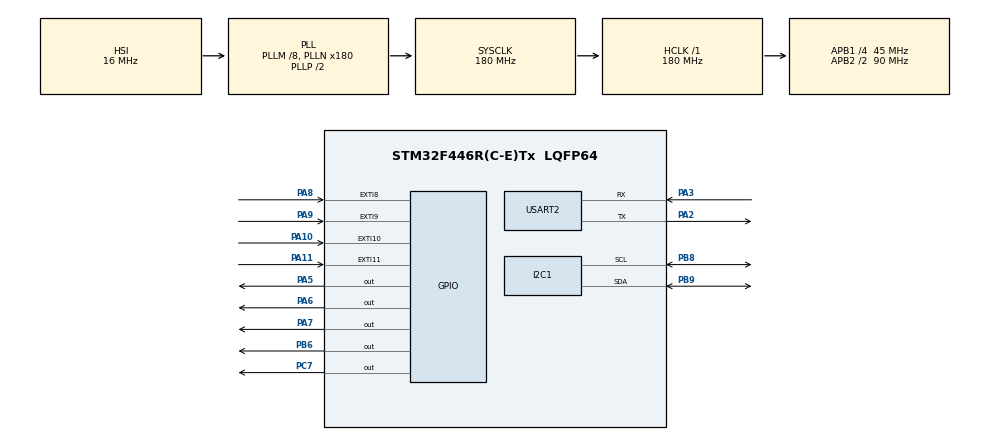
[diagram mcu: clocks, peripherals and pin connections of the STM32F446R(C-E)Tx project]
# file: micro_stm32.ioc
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Dma.Request0=USART2_RX
Dma.Request1=USART2_TX
Dma.USART2_RX.0.Direction=DMA_PERIPH_TO_MEMORY
Dma.USART2_RX.0.FIFOMode=DMA_FIFOMODE_DISABLE
Dma.USART2_RX.0.Instance=DMA1_Stream5
Dma.USART2_RX.0.MemDataAlignment=DMA_MDATAALIGN_BYTE
Dma.USART2_RX.0.MemInc=DMA_MINC_ENABLE
Dma.USART2_RX.0.Mode=DMA_CIRCULAR
Dma.USART2_RX.0.PeriphDataAlignment=DMA_PDATAALIGN_BYTE
Dma.USART2_RX.0.PeriphInc=DMA_PINC_DISABLE
Dma.USART2_RX.0.Priority=DMA_PRIORITY_VERY_HIGH
Dma.USART2_TX.1.Direction=DMA_MEMORY_TO_PERIPH
Dma.USART2_TX.1.FIFOMode=DMA_FIFOMODE_DISABLE
Dma.USART2_TX.1.Instance=DMA1_Stream6
Dma.USART2_TX.1.MemDataAlignment=DMA_MDATAALIGN_BYTE
Dma.USART2_TX.1.MemInc=DMA_MINC_ENABLE
Dma.USART2_TX.1.Mode=DMA_NORMAL
Dma.USART2_TX.1.PeriphDataAlignment=DMA_PDATAALIGN_BYTE
Dma.USART2_TX.1.PeriphInc=DMA_PINC_DISABLE
Dma.USART2_TX.1.Priority=DMA_PRIORITY_VERY_HIGH
FREERTOS.Tasks01=microros,24,3000,StartDefaultTask,Default,NULL,Static,defaultTaskBuffer,defaultTaskControlBlock;imu_task,24,256,imu_task_fn,Default,NULL,Dynamic,NULL,NULL
FREERTOS.configUSE_NEWLIB_REENTRANT=1
Mcu.Family=STM32F4
Mcu.Name=STM32F446R(C-E)Tx
Mcu.Package=LQFP64
NVIC.DMA1_Stream5_IRQn=true\:5\:0\:false\:false\:true\:true\:false\:true\:true
NVIC.DMA1_Stream6_IRQn=true\:5\:0\:false\:false\:true\:true\:false\:true\:true
NVIC.EXTI15_10_IRQn=true\:5\:0\:false\:false\:true\:true\:true\:true\:true
NVIC.EXTI9_5_IRQn=true\:5\:0\:false\:false\:true\:true\:true\:true\:true
NVIC.PriorityGroup=NVIC_PRIORITYGROUP_4
NVIC.TIM1_UP_TIM10_IRQn=true\:15\:0\:false\:false\:true\:false\:false\:true\:true
NVIC.TIM2_IRQn=true\:5\:0\:false\:false\:true\:true\:true\:true\:true
NVIC.TIM3_IRQn=true\:5\:0\:false\:false\:true\:true\:true\:true\:true
NVIC.TIM4_IRQn=true\:5\:0\:false\:false\:true\:true\:true\:true\:true
NVIC.TimeBase=TIM1_UP_TIM10_IRQn
NVIC.TimeBaseIP=TIM1
NVIC.USART2_IRQn=true\:5\:0\:false\:false\:true\:true\:true\:true\:true
PA10.GPIO_ModeDefaultEXTI=GPIO_MODE_IT_RISING_FALLING
PA10.GPIO_PuPd=GPIO_PULLUP
PA10.Signal=GPXTI10
PA11.GPIO_ModeDefaultEXTI=GPIO_MODE_IT_RISING_FALLING
PA11.GPIO_PuPd=GPIO_PULLUP
PA11.Signal=GPXTI11
PA2.Mode=Asynchronous
PA2.Signal=USART2_TX
PA3.Mode=Asynchronous
PA3.Signal=USART2_RX
PA5.Signal=GPIO_Output
PA6.Signal=GPIO_Output
PA7.Signal=GPIO_Output
PA8.GPIO_ModeDefaultEXTI=GPIO_MODE_IT_RISING_FALLING
PA8.GPIO_PuPd=GPIO_PULLUP
PA8.Signal=GPXTI8
PA9.GPIO_ModeDefaultEXTI=GPIO_MODE_IT_RISING_FALLING
PA9.GPIO_PuPd=GPIO_PULLUP
PA9.Signal=GPXTI9
PB6.Signal=GPIO_Output
PB8.Mode=I2C
PB8.Signal=I2C1_SCL
PB9.Mode=I2C
PB9.Signal=I2C1_SDA
PC7.Signal=GPIO_Output
ProjectManager.HeapSize=0x200
ProjectManager.StackSize=0x400
ProjectManager.TargetToolchain=STM32CubeIDE
RCC.AHBFreq_Value=180000000
RCC.APB1CLKDivider=RCC_HCLK_DIV4
RCC.APB1Freq_Value=45000000
RCC.APB1TimFreq_Value=90000000
RCC.APB2CLKDivider=RCC_HCLK_DIV2
RCC.APB2Freq_Value=90000000
RCC.APB2TimFreq_Value=180000000
RCC.CortexFreq_Value=180000000
RCC.HCLKFreq_Value=180000000
RCC.PLLM=8
RCC.PLLN=180
RCC.SYSCLKFreq_VALUE=180000000
RCC.SYSCLKSource=RCC_SYSCLKSOURCE_PLLCLK
RCC.USBFreq_Value=180000000
RCC.VCOOutputFreq_Value=360000000
TIM2.AutoReloadPreload=TIM_AUTORELOAD_PRELOAD_ENABLE
TIM2.Period=65535
TIM2.Prescaler=89
TIM2.TIM_MasterSlaveMode=TIM_MASTERSLAVEMODE_DISABLE
TIM3.AutoReloadPreload=TIM_AUTORELOAD_PRELOAD_ENABLE
TIM3.Prescaler=89
TIM4.AutoReloadPreload=TIM_AUTORELOAD_PRELOAD_ENABLE
TIM4.Period=1000-1
TIM4.Prescaler=899
USART2.VirtualMode=VM_ASYNC
VP_FREERTOS_VS_CMSIS_V2.Mode=CMSIS_V2
VP_SYS_VS_tim1.Mode=TIM1
VP_TIM2_VS_ClockSourceINT.Mode=Internal
VP_TIM3_VS_ClockSourceINT.Mode=Internal
VP_TIM4_VS_ClockSourceINT.Mode=Internal
board=custom

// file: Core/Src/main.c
/* USER CODE BEGIN Header */
/**
  ******************************************************************************
  * @file           : main.c
  * @brief          : Main program body
  ******************************************************************************
  * @attention
  *
  * Copyright (c) 2023 STMicroelectronics.
  * All rights reserved.
  *
  * This software is licensed under terms that can be found in the LICENSE file
  * in the root directory of this software component.
  * If no LICENSE file comes with this software, it is provided AS-IS.
  *
  ******************************************************************************
  */
/* USER CODE END Header */
#include "main.h"
#include "cmsis_os.h"
#include "dma.h"
#include "i2c.h"
#include "tim.h"
#include "usart.h"
#include "gpio.h"

/* USER CODE BEGIN Includes */
#include "FreeRTOS.h"
//#include "math.h"
/* USER CODE END Includes */

/* USER CODE BEGIN PD */
#define SPR 800
#define TIM_FREQ 1000000
#define ALPHA (2*3.14159/SPR)
#define PI 3.14159
#define wheel_radius 0.1
#define wheel_separation 0.5

#define chA_pin GPIO_PIN_8
#define chB_pin GPIO_PIN_9
#define chAB_gpio_port GPIOA

#define chA1_pin GPIO_PIN_10
#define chB1_pin GPIO_PIN_11

/* USER CODE END PD */

/* USER CODE BEGIN PM */
uint16_t test_timer;

// position estimate

/* USER CODE END PM */

/* USER CODE BEGIN PV */
extern float angular_velocity_left;
extern float angular_velocity_right;

float last_angular_velocity_right = 0;
float last_angular_velocity_left = 0;

extern int direction_right;
extern int direction_left;

float wheel_angular_velocity_right;
float wheel_angular_velocity_left;

uint16_t step_count_right;
uint16_t step_count_left;

//uint16_t step_Delay;
/* USER CODE END PV */

void SystemClock_Config(void);
void MX_FREERTOS_Init(void);

/* USER CODE BEGIN 0 */
typedef struct{
	signed long counter;
	GPIO_PinState lastA;
	GPIO_PinState lastB;
	float distand;
}encoder;
encoder enc1;
encoder enc2;

void read_encoder(encoder *Encoder, GPIO_PinState chA, GPIO_PinState ChB){
	if(chA != Encoder->lastA){
		Encoder->lastA = chA;
		if(chA != ChB){
			Encoder->counter++;
		}else {
			Encoder->counter--;
		}
	}
	if(ChB != Encoder->lastB){
		Encoder->lastB = ChB;
		if(ChB == chA){
			Encoder->counter++;
		}else {
			Encoder->counter--;
		}
	}

}

/* USER CODE END 0 */

int main(void)
{

  /* MCU Configuration--------------------------------------------------------*/

  /* Reset of all peripherals, Initializes the Flash interface and the Systick. */
  HAL_Init();

  /* Configure the system clock */
  SystemClock_Config();

  /* Initialize all configured peripherals */
  MX_GPIO_Init();
  MX_DMA_Init();
  MX_USART2_UART_Init();
  MX_TIM2_Init();
  MX_TIM3_Init();
  MX_TIM4_Init();
  MX_I2C1_Init();
  /* USER CODE BEGIN 2 */
  HAL_TIM_Base_Start_IT(&htim2);
  HAL_TIM_Base_Start_IT(&htim3);
  HAL_TIM_Base_Start_IT(&htim4);
  /* USER CODE END 2 */

  /* Init scheduler */
  osKernelInitialize();  /* Call init function for freertos objects (in freertos.c) */
  MX_FREERTOS_Init();

  /* Start scheduler */
  osKernelStart();

  /* We should never get here as control is now taken by the scheduler */
  /* Infinite loop */
  while (1)
  {

  }
}

void SystemClock_Config(void)
{
  RCC_OscInitTypeDef RCC_OscInitStruct = {0};
  RCC_ClkInitTypeDef RCC_ClkInitStruct = {0};

  /** Configure the main internal regulator output voltage
  */
  __HAL_RCC_PWR_CLK_ENABLE();
  __HAL_PWR_VOLTAGESCALING_CONFIG(PWR_REGULATOR_VOLTAGE_SCALE1);

  /** Initializes the RCC Oscillators according to the specified parameters
  * in the RCC_OscInitTypeDef structure.
  */
  RCC_OscInitStruct.OscillatorType = RCC_OSCILLATORTYPE_HSI;
  RCC_OscInitStruct.HSIState = RCC_HSI_ON;
  RCC_OscInitStruct.HSICalibrationValue = RCC_HSICALIBRATION_DEFAULT;
  RCC_OscInitStruct.PLL.PLLState = RCC_PLL_ON;
  RCC_OscInitStruct.PLL.PLLSource = RCC_PLLSOURCE_HSI;
  RCC_OscInitStruct.PLL.PLLM = 8;
  RCC_OscInitStruct.PLL.PLLN = 180;
  RCC_OscInitStruct.PLL.PLLP = RCC_PLLP_DIV2;
  RCC_OscInitStruct.PLL.PLLQ = 2;
  RCC_OscInitStruct.PLL.PLLR = 2;
  if (HAL_RCC_OscConfig(&RCC_OscInitStruct) != HAL_OK)
  {
    Error_Handler();
  }

  /** Activate the Over-Drive mode
  */
  if (HAL_PWREx_EnableOverDrive() != HAL_OK)
  {
    Error_Handler();
  }

  /** Initializes the CPU, AHB and APB buses clocks
  */
  RCC_ClkInitStruct.ClockType = RCC_CLOCKTYPE_HCLK|RCC_CLOCKTYPE_SYSCLK
                              |RCC_CLOCKTYPE_PCLK1|RCC_CLOCKTYPE_PCLK2;
  RCC_ClkInitStruct.SYSCLKSource = RCC_SYSCLKSOURCE_PLLCLK;
  RCC_ClkInitStruct.AHBCLKDivider = RCC_SYSCLK_DIV1;
  RCC_ClkInitStruct.APB1CLKDivider = RCC_HCLK_DIV4;
  RCC_ClkInitStruct.APB2CLKDivider = RCC_HCLK_DIV2;

  if (HAL_RCC_ClockConfig(&RCC_ClkInitStruct, FLASH_LATENCY_5) != HAL_OK)
  {
    Error_Handler();
  }
}

/* USER CODE BEGIN 4 */

void HAL_GPIO_EXTI_Callback(uint16_t GPIO_Pin){
	if(GPIO_Pin == chA_pin||chB_pin){
		read_encoder(&enc1, HAL_GPIO_ReadPin(chAB_gpio_port, chA_pin), HAL_GPIO_ReadPin(chAB_gpio_port, chB_pin));
	}
	if(GPIO_Pin == chA1_pin||chB1_pin){
		read_encoder(&enc2, HAL_GPIO_ReadPin(chAB_gpio_port, chA1_pin),HAL_GPIO_ReadPin(chAB_gpio_port, chB1_pin));
	}
}

/* USER CODE END 4 */

void HAL_TIM_PeriodElapsedCallback(TIM_HandleTypeDef *htim)
{
  if (htim->Instance == TIM1) {
    HAL_IncTick();
  }
  /* USER CODE BEGIN Callback 1 */
  // Timer for stepper motor right
  if (htim->Instance == TIM2) {

	  if (angular_velocity_right != 0)
	  {
		  uint16_t step_delay_right =  ALPHA*TIM_FREQ /(2 * angular_velocity_right);
		  TIM2->ARR = step_delay_right;
		  HAL_GPIO_TogglePin(GPIOA, GPIO_PIN_6);

		  if (direction_right == 1){
			  step_count_right++;
		  }else if (direction_right == 0){
			  step_count_right--;
		  }
	  }else {
		  TIM2->ARR = 10000;
	  }
  }

  // Timer for stepper motor left
  if (htim->Instance == TIM3) {
	  if(angular_velocity_left != 0)
	  {
		  uint16_t step_delay_left =   ALPHA*TIM_FREQ / (2 * angular_velocity_left);
		  TIM3->ARR = step_delay_left;
		  HAL_GPIO_TogglePin(GPIOB, GPIO_PIN_6);

		  if (direction_left == 1){
			  step_count_left++;
		  }else if (direction_left == 0){
			  step_count_left--;
		  }
	  }else {
		  TIM3->ARR = 10000;
	  }
  }

  if (htim->Instance == TIM4) {

  }

  /* USER CODE END Callback 1 */
}

void Error_Handler(void)
{
  __disable_irq();
  while (1)
  {
  }
}

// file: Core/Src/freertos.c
/* USER CODE BEGIN Header */
/**
  ******************************************************************************
  * File Name          : freertos.c
  * Description        : Code for freertos applications
  ******************************************************************************
  * @attention
  *
  * Copyright (c) 2023 STMicroelectronics.
  * All rights reserved.
  *
  * This software is licensed under terms that can be found in the LICENSE file
  * in the root directory of this software component.
  * If no LICENSE file comes with this software, it is provided AS-IS.
  *
  ******************************************************************************
  */
/* USER CODE END Header */

#include "FreeRTOS.h"
#include "task.h"
#include "main.h"
#include "cmsis_os.h"

/* USER CODE BEGIN Includes */
#include <rcl/rcl.h>
#include <rcl/error_handling.h>
#include <rclc/rclc.h>
#include <rclc/executor.h>
#include <uxr/client/transport.h>
#include <rmw_microxrcedds_c/config.h>
#include <rmw_microros/rmw_microros.h>
#include "rosidl_runtime_c/message_type_support_struct.h"

#include <std_msgs/msg/int32.h>
#include <std_msgs/msg/float32.h>
#include <std_msgs/msg/string.h>
#include "geometry_msgs/msg/twist.h"
#include <geometry_msgs/msg/vector3.h>

#include "usart.h"
#include <stdio.h>
#include <math.h>
#include <string.h>
#include <stdbool.h>
#include "bno055_stm32.h"

#include <math.h>

/* USER CODE END Includes */

typedef StaticTask_t osStaticThreadDef_t;

/* USER CODE BEGIN PD */
#define SPR 800
#define TIM_FREQ 1000000
#define ALPHA (2*3.14159/SPR)
#define PI 3.14159
#define wheel_radius 0.1
//#define wheel_separation 0.5
#define ARRAY_LEN 200

#define gear_ratio 10
#define wheel_separation 0.50
#define wheel_radius 0.1

#define p_imu 1.0  // 0%

uint8_t state_reconnect;
/* USER CODE END PD */

/* USER CODE BEGIN PM */
float imu_yaw;
//extern float x_pos,y_pos, yaw_pos;
float x_pos,y_pos, yaw_pos;
float z_yaw;
//extern float imu_yaw;
int32_t diff1,diff2;
uint8_t pub_state;

extern uint16_t step_count_right;
extern uint16_t step_count_left;

uint16_t last_step_count_right = 0;
uint16_t last_step_count_left = 0;
/* USER CODE END PM */

/* USER CODE BEGIN Variables */
float angular_velocity_left_con = 0.0;
float angular_velocity_right_con = 0.0;

float angular_velocity_left = 0.0;
float angular_velocity_right = 0.0;

int direction_right;
int direction_left;

extern float wheel_angular_velocity_right;
extern float wheel_angular_velocity_left;

rcl_ret_t rc;

rcl_publisher_t publisher;
rcl_subscription_t subscriber;

geometry_msgs__msg__Vector3 vector3_subscribe;
geometry_msgs__msg__Vector3 vector3_publish;
geometry_msgs__msg__Twist twist_msg;

/* USER CODE END Variables */
/* Definitions for microros */
osThreadId_t microrosHandle;
uint32_t defaultTaskBuffer[ 3000 ];
osStaticThreadDef_t defaultTaskControlBlock;
const osThreadAttr_t microros_attributes = {
  .name = "microros",
  .cb_mem = &defaultTaskControlBlock,
  .cb_size = sizeof(defaultTaskControlBlock),
  .stack_mem = &defaultTaskBuffer[0],
  .stack_size = sizeof(defaultTaskBuffer),
  .priority = (osPriority_t) osPriorityNormal,
};
/* Definitions for imu_task */
osThreadId_t imu_taskHandle;
const osThreadAttr_t imu_task_attributes = {
  .name = "imu_task",
  .stack_size = 256 * 4,
  .priority = (osPriority_t) osPriorityNormal,
};

/* USER CODE BEGIN FunctionPrototypes */

float pi_to_pi(float angle) {
    // Use fmod to wrap the angle within the range [-π, π)
    angle = fmod(angle + M_PI, 2 * M_PI);

    if (angle < 0) {
        angle += 2 * M_PI;
    }

    return angle - M_PI;
}

bool cubemx_transport_open(struct uxrCustomTransport * transport);
bool cubemx_transport_close(struct uxrCustomTransport * transport);
size_t cubemx_transport_write(struct uxrCustomTransport* transport, const uint8_t * buf, size_t len, uint8_t * err);
size_t cubemx_transport_read(struct uxrCustomTransport* transport, uint8_t* buf, size_t len, int timeout, uint8_t* err);

void * microros_allocate(size_t size, void * state);
void microros_deallocate(void * pointer, void * state);
void * microros_reallocate(void * pointer, size_t size, void * state);
void * microros_zero_allocate(size_t number_of_elements, size_t size_of_element, void * state);

void twist_callback(const void *msgin) {
    const geometry_msgs__msg__Twist *twist_msg = (const geometry_msgs__msg__Twist *)msgin;

	  angular_velocity_left_con = (twist_msg->linear.x -  (twist_msg->angular.z * wheel_separation) / 2.0) / wheel_radius;
	  angular_velocity_right_con = (twist_msg->linear.x +  (twist_msg->angular.z * wheel_separation) / 2.0) / wheel_radius;

	// Direction of stepper motor left
	if (angular_velocity_left_con >= 0){
		HAL_GPIO_WritePin(GPIOC, GPIO_PIN_7, SET);
		direction_left = 1;
		angular_velocity_left = gear_ratio * angular_velocity_left_con;// have value 10 * value

	}else if (angular_velocity_left_con < 0){
		HAL_GPIO_WritePin(GPIOC, GPIO_PIN_7, RESET);
		direction_left = 0;
		angular_velocity_left = -1.0 * gear_ratio * angular_velocity_left_con;
	}

	// Direction of stepper motor right
	if (angular_velocity_right_con >= 0){
		HAL_GPIO_WritePin(GPIOA, GPIO_PIN_7, RESET);
		direction_right = 1;
		angular_velocity_right = gear_ratio * angular_velocity_right_con;

	}else if (angular_velocity_right_con < 0){
		HAL_GPIO_WritePin(GPIOA, GPIO_PIN_7, SET);
		direction_right = 0;
		angular_velocity_right = -1.0 * gear_ratio * angular_velocity_right_con;
	}

}

void twist_publish_callback(rcl_timer_t * timer, int64_t last_call_time){
	(void) last_call_time;
	if (timer != NULL){

//		  if(rc != RCL_RET_OK){
//			  state_reconnect = 1;
//			  NVIC_SystemReset();
//		  }
		// Update the robot position and orientation based on the wheel movements:
		  diff1 = step_count_right - last_step_count_right;
		  diff2 = step_count_left - last_step_count_left;

		  if (diff1 > 32768){
			  diff1 = diff1 - 65535;
		  }
		  else if(diff1 < -32768){
			  diff1 = diff1 + 65535;
		  }
		  if (diff2 > 32768){
			  diff2 = diff2 - 65535;
		  }
		  else if(diff2 < -32768){
			  diff2 = diff2 + 65535;
		  }

		  // calculation

		  wheel_angular_velocity_right = 2*PI * (diff1) / (2*SPR * 10);
		  wheel_angular_velocity_left = 2*PI * (diff2)  / (2*SPR * 10);

		  z_yaw = z_yaw + (wheel_angular_velocity_right - wheel_angular_velocity_left) * wheel_radius / wheel_separation;

		  yaw_pos =  p_imu * pi_to_pi(imu_yaw) + (1 - p_imu) * pi_to_pi(z_yaw);

		  x_pos = x_pos + cos(yaw_pos) * ((wheel_angular_velocity_right + wheel_angular_velocity_left) * wheel_radius / 2);
		  y_pos = y_pos + sin(yaw_pos) * ((wheel_angular_velocity_right + wheel_angular_velocity_left) * wheel_radius / 2);

		  last_step_count_right = step_count_right;
		  last_step_count_left = step_count_left;

		  pub_state ++;
		  if (pub_state > 1){
			  pub_state = 0;
				vector3_publish.x = x_pos;
				vector3_publish.y = y_pos;
				vector3_publish.z = yaw_pos;
				rc = rcl_publish(&publisher, &vector3_publish, NULL);
		  }

	}

}
/* USER CODE END FunctionPrototypes */

void StartDefaultTask(void *argument);
void imu_task_fn(void *argument);

void MX_FREERTOS_Init(void); /* (MISRA C 2004 rule 8.1) */

void MX_FREERTOS_Init(void) {

  /* USER CODE BEGIN RTOS_QUEUES */
//  Twist_queueHandle = osMessageQueueNew (16, 24, &Twist_queue_attributes);
  /* add queues, ... */
  /* USER CODE END RTOS_QUEUES */

  /* Create the thread(s) */
  /* creation of microros */
  microrosHandle = osThreadNew(StartDefaultTask, NULL, &microros_attributes);

  /* creation of imu_task */
  imu_taskHandle = osThreadNew(imu_task_fn, NULL, &imu_task_attributes);

}

void StartDefaultTask(void *argument)
{
  /* USER CODE BEGIN StartDefaultTask */
  /* Infinite loop */
	  // micro-ROS configuration
	  // micro-ROS configuration
	  char test_array[ARRAY_LEN];
	  memset(test_array, 'z', ARRAY_LEN);

	  rmw_uros_set_custom_transport(
	    true,
	    (void *) &huart2,
	    cubemx_transport_open,
	    cubemx_transport_close,
	    cubemx_transport_write,
	    cubemx_transport_read);

	  rcl_allocator_t freeRTOS_allocator = rcutils_get_zero_initialized_allocator();
	  freeRTOS_allocator.allocate = microros_allocate;
	  freeRTOS_allocator.deallocate = microros_deallocate;
	  freeRTOS_allocator.reallocate = microros_reallocate;
	  freeRTOS_allocator.zero_allocate = microros_zero_allocate;

	  if (!rcutils_set_default_allocator(&freeRTOS_allocator)) {
	    printf("Error: Failed to set default allocators.\n");
	    while (1); // Halt execution if allocator setup fails
	  }

	  // Initialize micro-ROS allocator
	  rcl_allocator_t allocator = rcl_get_default_allocator();

	  // Initialize support object// Initialize and modify options (Set DOMAIN ID to 10)
	  rcl_init_options_t init_options = rcl_get_zero_initialized_init_options();
	  rcl_init_options_init(&init_options, allocator);
	  rcl_init_options_set_domain_id(&init_options, 21);	// 21

	  rclc_support_t support;
	  if (rclc_support_init_with_options(&support, 0, NULL, &init_options, &allocator) != RCL_RET_OK) {
		  state_reconnect = 1;
	    printf("Error: Failed to initialize rclc_support.\n");
	    while (1); // Halt execution if support initialization fails
	  }

	  // Create node object
	  rcl_node_t node;
	  if (rclc_node_init_default(&node, "stm32f446re_node", "", &support) != RCL_RET_OK) {
		  state_reconnect = 2;
	    printf("Error: Failed to initialize rclc_node.\n");
	    while (1); // Halt execution if node initialization fails
	  }

	  // Create publisher
	  const char *pub_topic_name = "/position_uros";
	  const rosidl_message_type_support_t *pub_type_support = ROSIDL_GET_MSG_TYPE_SUPPORT(geometry_msgs, msg, Vector3);
	  if (rclc_publisher_init_default(&publisher, &node, pub_type_support, pub_topic_name) != RCL_RET_OK) {
		  state_reconnect = 3;
	    printf("Error: Failed to initialize publisher.\n");
	    while (1); // Halt execution if publisher initialization fails
	  }

	  // Create timer
	  rcl_timer_t timer;
	  if (rclc_timer_init_default(&timer, &support, RCL_MS_TO_NS(20), twist_publish_callback) != RCL_RET_OK) {
		  state_reconnect = 4;
	    printf("Error: Failed to initialize timer.\n");
	    while (1); // Halt execution if timer initialization fails
	  }

	  // Create subscriber
	  const char *sub_topic_name = "/cmd_vel_out";
	  const rosidl_message_type_support_t *sub_type_support = ROSIDL_GET_MSG_TYPE_SUPPORT(geometry_msgs, msg, Twist);
	  if (rclc_subscription_init_default(&subscriber, &node, sub_type_support, sub_topic_name) != RCL_RET_OK) {
		  state_reconnect = 5;
	    printf("Error: Failed to initialize subscription.\n");
	    while (1); // Halt execution if subscription initialization fails
	  }

	  // Create executor
	  rclc_executor_t executor = rclc_executor_get_zero_initialized_executor();
	  if (rclc_executor_init(&executor, &support.context, 3, &allocator) != RCL_RET_OK) {
		  state_reconnect = 6;
	    printf("Error: Failed to initialize executor.\n");
	    while (1); // Halt execution if executor initialization fails
	  }

	  if (rclc_executor_add_timer(&executor, &timer) != RCL_RET_OK) {
		  state_reconnect = 7;
	    printf("Error: Failed to add timer to executor.\n");
	    while (1); // Halt execution if adding timer to executor fails
	  }

	  if (rclc_executor_add_subscription(&executor, &subscriber, &twist_msg, &twist_callback, ON_NEW_DATA) != RCL_RET_OK) {
		  state_reconnect = 8;
	    printf("Error: Failed to add subscription to executor.\n");
	    while (1); // Halt execution if adding subscription to executor fails
	  }

	  // Spin executor to receive messages
	  rclc_executor_prepare(&executor);
	  rclc_executor_spin(&executor);

	  // cleaning Up
	  rc += rcl_subscription_fini(&subscriber, &node);
	  rc += rcl_node_fini(&node);

  /* USER CODE END StartDefaultTask */
}

void imu_task_fn(void *argument)
{
  /* USER CODE BEGIN imu_task_fn */
	  bno055_assignI2C(&hi2c1);
	  bno055_setup();
	  bno055_setOperationModeNDOF();
  /* Infinite loop */
  for(;;)
  {
	  if(rc != RCL_RET_OK){

		  NVIC_SystemReset();
	  }
	  if (state_reconnect != 0){
		  NVIC_SystemReset();
	  }
	  bno055_vector_t v = bno055_getVectorEuler();
	  imu_yaw = -1.0 * v.x * M_PI /180;
    osDelay(20);
  }
  /* USER CODE END imu_task_fn */
}
